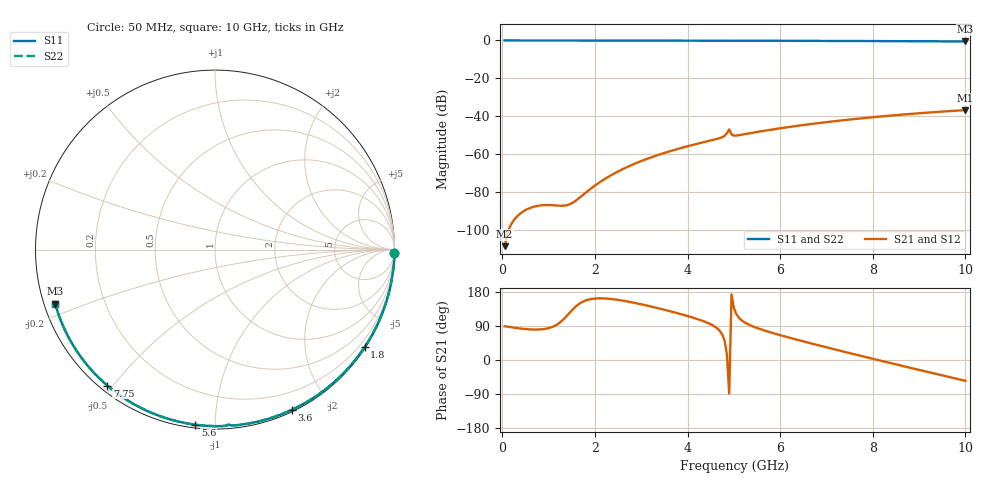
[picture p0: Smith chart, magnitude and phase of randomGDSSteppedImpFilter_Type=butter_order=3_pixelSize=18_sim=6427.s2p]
! freq	dB(S11)	phase(S11)	dB(S12)	phase(S12)
!  dB(S21)	phase(S21)	dB(S22)	phase(S22)
!S-par simulation data
#  GHz  S  DB  R 50
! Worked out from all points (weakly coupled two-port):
!   200 points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, 50 MHz to 10 GHz, reference 50 ohm
!   highest |S21| = -36.68 dB at 10 GHz (marker M1); lowest = -108.3 dB at 50 MHz (marker M2)
!   lowest |S11| = -0.5 dB at 10 GHz (marker M3), VSWR 32.42, Z = 1.58 - j8.21 ohm
!   |S11| at or under -10 dB: nowhere
!   |S22| runs from -0.5 to 0.0 dB; largest |S21 - S12| = 0
!   S11 on the Smith chart (normalised r, x): 50 MHz: open; 1.8 GHz: 0.03, -3.36; 3.6 GHz: 0.02, -1.59; 5.6 GHz: 0.02, -0.89; 7.75 GHz: 0.02, -0.48; 10 GHz: 0.03, -0.16
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0.05  -0.00 -0.9  -108.32 89.0  -108.32 89.0  -0.00 -0.9
0.85  -0.02 -15.8  -86.78 81.0  -86.78 81.0  -0.02 -15.8
1.75  -0.04 -32.2  -81.19 154.4  -81.19 154.4  -0.04 -32.2
1.8  -0.04 -33.1  -80.19 157.0  -80.19 157.0  -0.04 -33.1
2.15  -0.05 -39.4  -73.91 162.7  -73.91 162.7  -0.05 -39.4
2.5  -0.06 -45.5  -68.98 158.6  -68.98 158.6  -0.06 -45.5
2.9  -0.07 -52.5  -64.49 149.6  -64.49 149.6  -0.07 -52.5
3.4  -0.08 -61.0  -60.01 135.6  -60.01 135.6  -0.08 -61.0
3.6  -0.09 -64.4  -58.47 129.5  -58.47 129.5  -0.09 -64.4
4.15  -0.10 -73.5  -54.76 110.5  -54.76 110.5  -0.10 -73.5
4.75  -0.13 -83.3  -50.93 67.1  -50.93 67.1  -0.13 -83.3
4.8  -0.13 -84.1  -50.26 51.3  -50.26 51.3  -0.13 -84.1
4.9  -0.20 -85.5  -46.83 -88.4  -46.83 -88.4  -0.20 -85.5
4.95  -0.15 -86.1  -49.47 173.0  -49.47 173.0  -0.15 -86.1
5  -0.14 -87.0  -50.11 137.8  -50.11 137.8  -0.14 -87.0
5.05  -0.14 -87.8  -50.08 121.9  -50.08 121.9  -0.14 -87.8
5.6  -0.16 -96.4  -47.78 80.3  -47.78 80.3  -0.16 -96.4
6.7  -0.22 -113.0  -43.90 42.8  -43.90 42.8  -0.22 -113.0
7.75  -0.30 -128.4  -41.01 10.7  -41.01 10.7  -0.30 -128.4
8.35  -0.35 -137.1  -39.63 -7.1  -39.63 -7.1  -0.35 -137.1
9.2  -0.44 -149.5  -37.96 -32.0  -37.96 -32.0  -0.44 -149.5
10  -0.54 -161.3  -36.68 -54.9  -36.68 -54.9  -0.54 -161.3
